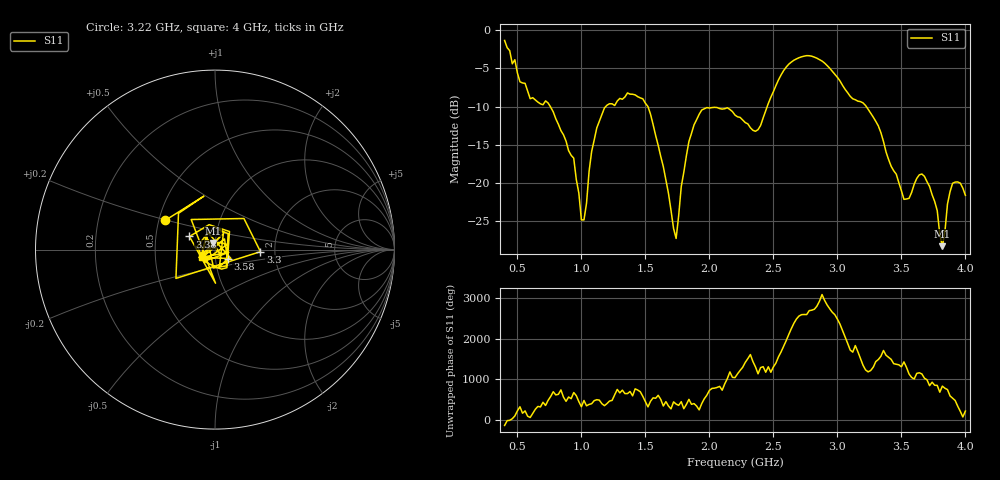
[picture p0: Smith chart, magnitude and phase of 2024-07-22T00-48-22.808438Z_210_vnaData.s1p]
!Created with skrf (http://scikit-rf.org).
# Hz S RI R 50.0
!freq ReS11 ImS11
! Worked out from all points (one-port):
!   181 points, 400 MHz to 4 GHz, reference 50 ohm
!   lowest |S11| = -28.2 dB at 3.82 GHz (marker M1), VSWR 1.08, Z = 48.7 + j3.6 ohm
!   |S11| at or under -10 dB: 757.8 MHz to 1.189 GHz (431.2 MHz wide, 44.3 % of centre); 1.52 GHz to 2.451 GHz (931 MHz wide, 46.9 % of centre); 3.226 GHz to end of sweep
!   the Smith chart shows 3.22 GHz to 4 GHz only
!   S11 on the Smith chart (normalised r, x): 3.22 GHz: 0.54, +0.20; 3.3 GHz: 1.68, -0.04; 3.38 GHz: 0.74, +0.11; 3.58 GHz: 1.14, -0.12; 4 GHz: 0.86, -0.07
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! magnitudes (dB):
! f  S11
! 400 MHz  -1.3
! 600 MHz  -9.0
! 860 MHz  -13.7
! 940 MHz  -16.7
! 1 GHz  -24.8
! 1.02 GHz  -24.8
! 1.12 GHz  -12.8
! 1.3 GHz  -8.9
! 1.52 GHz  -10.0
! 1.74 GHz  -27.2
! 1.76 GHz  -24.2
! 1.84 GHz  -14.5
! 1.92 GHz  -11.0
! 2.2 GHz  -11.1
! 2.38 GHz  -13.0
! 2.66 GHz  -3.9
! 2.88 GHz  -4.0
! 3.1 GHz  -8.6
! 3.22 GHz  -9.8
! 3.3 GHz  -11.9
! 3.38 GHz  -15.9
! 3.56 GHz  -22.0
! 3.58 GHz  -21.2
! 3.68 GHz  -19.1
! 3.78 GHz  -23.6
! 3.82 GHz  -28.2
! 3.9 GHz  -20.0
! 4 GHz  -21.6
